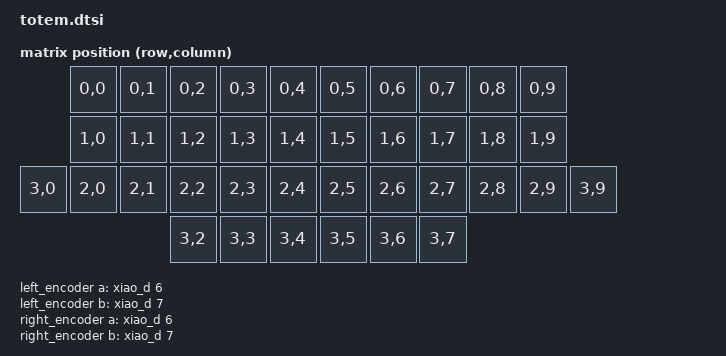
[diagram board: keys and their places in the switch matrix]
/*
 * Copyright (c) 2022 The ZMK Contributors
 *
 * SPDX-License-Identifier: MIT
 */

#include <dt-bindings/zmk/matrix_transform.h>

/ {
    chosen {
        zmk,matrix_transform = &default_transform;
    };

    default_transform: keymap_transform_0 {
        compatible = "zmk,matrix-transform";
        columns = <10>;
        rows = <4>;
//             | SW01  | SW02  | SW03  | SW04  | SW05  |  | SW05  | SW04  | SW03  | SW02  | SW01  |
//             | SW06  | SW07  | SW08  | SW09  | SW10  |  | SW10  | SW09  | SW08  | SW07  | SW06  | 
//      | SW16 | SW11  | SW12  | SW13  | SW14  | SW15  |  | SW15  | SW14  | SW13  | SW12  | SW11  | SW16  |
//                             | SW17  | SW18  | SW19  |  | SW19  | SW18  | SW17  | 
        map = <
                RC(0,0) RC(0,1) RC(0,2) RC(0,3) RC(0,4)    RC(0,5) RC(0,6) RC(0,7) RC(0,8) RC(0,9)
                RC(1,0) RC(1,1) RC(1,2) RC(1,3) RC(1,4)    RC(1,5) RC(1,6) RC(1,7) RC(1,8) RC(1,9)
        RC(3,0) RC(2,0) RC(2,1) RC(2,2) RC(2,3) RC(2,4)    RC(2,5) RC(2,6) RC(2,7) RC(2,8) RC(2,9) RC(3,9)
                                RC(3,2) RC(3,3) RC(3,4)    RC(3,5) RC(3,6) RC(3,7)         
        >;
    };

    left_encoder: encoder_left {
        compatible = "alps,ec11";
        a-gpios = <&xiao_d 6 (GPIO_ACTIVE_HIGH | GPIO_PULL_UP)>;
        b-gpios = <&xiao_d 7 (GPIO_ACTIVE_HIGH | GPIO_PULL_UP)>;
        steps = <80>;
        status = "disabled";
    };

    right_encoder: encoder_right {
        compatible = "alps,ec11";
        a-gpios = <&xiao_d 6 (GPIO_ACTIVE_HIGH | GPIO_PULL_UP)>;
        b-gpios = <&xiao_d 7 (GPIO_ACTIVE_HIGH | GPIO_PULL_UP)>;
        steps = <80>;
        status = "disabled";
    };

    sensors: sensors {
        compatible = "zmk,keymap-sensors";
        sensors = <&left_encoder &right_encoder>;
        triggers-per-rotation = <20>;
    };

    split_inputs {
        #address-cells = <1>;
        #size-cells = <0>;

        dial_split: dial_split@0 {
            compatible = "zmk,input-split";
            reg = <0>;
            status = "disabled";
        };
    };

    dial_listener: dial_listener {
        compatible = "zmk,input-listener";
        device = <&dial_split>;
        status = "disabled";
    };
};


